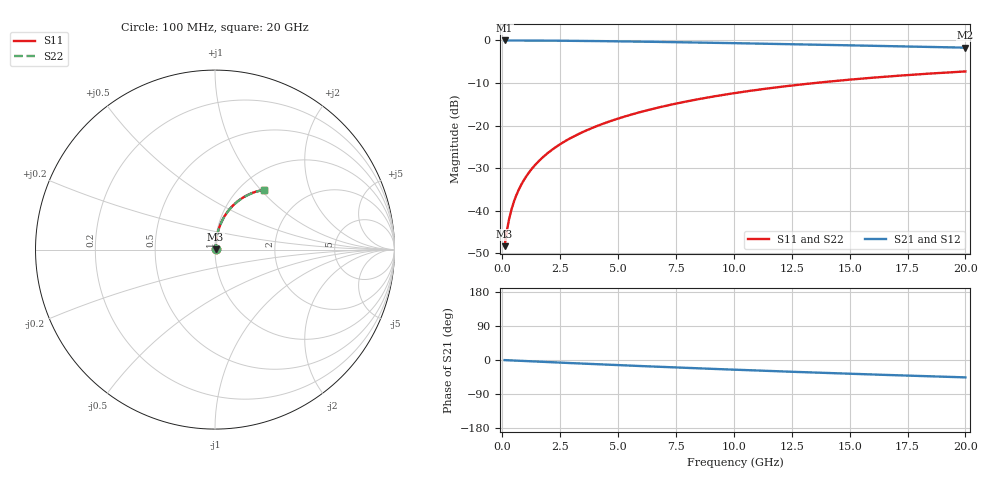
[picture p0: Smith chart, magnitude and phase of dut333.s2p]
! Touchstone file exported from HFSS 2024.1.0
!  File:  C:/UserFiles/LocalFiles/RDL_TSV_Batchsim/temp_RDL_bottom_333_1779611594.aedt
!  Generated:  04:35:35 PM May 24, 2026
!  Design:  RDL_bottom
!  Project:  temp_RDL_bottom_333_1779611594
!  Setup:  Setup1
!  Solution:  Sweep
! Variables:
!  dtsv = 10.80580581um
!  hbump = 3um
!  htsv = 86.69um
!  ldown = 643.19um
!  lrdl = 100um
!  p = 40
!  p1 = 51.23um
!  rhole = 1um
!  t = 450um
!  tdown = 4.65um
!  trdl = 3.915915916um
!  wdown = 17.97um
!  wrdl = 20um
# GHz S MA R 50.000000
! Terminal data exported
! Port[1] = RDL1_T1
! Port[2] = RDL1_T2
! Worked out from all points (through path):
!   200 points, 100 MHz to 20 GHz, reference 50 ohm
!   highest |S21| = -0.02 dB at 100 MHz (marker M1); lowest = -1.7 dB at 20 GHz (marker M2)
!   group delay of S21, straight-line fit = 6.34 ps
!   lowest |S11| = -48.3 dB at 100 MHz (marker M3), VSWR 1.01, Z = 50.3 + j0.259 ohm
!   |S11| at or under -10 dB: start of sweep to 13.52 GHz
!   |S22| runs from -48.3 to -7.3 dB; largest |S21 - S12| = 3.6e-14
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0.1  0.003839 42.1  0.9971 -0.3  0.9971 -0.3  0.00384 42.1
! Gamma 0 0 0 0
! Port Impedance 50 0 50 0
0.2  0.005887 59.5  0.997 -0.6  0.997 -0.6  0.005887 59.5
0.3  0.008134 67.3  0.9968 -0.9  0.9968 -0.9  0.008134 67.3
0.4  0.01043 71.7  0.9967 -1.1  0.9967 -1.1  0.01043 71.7
0.5  0.01274 74.5  0.9965 -1.4  0.9965 -1.4  0.01274 74.5
0.6  0.01507 76.5  0.9964 -1.7  0.9964 -1.7  0.01507 76.4
0.8  0.01978 78.9  0.996 -2.2  0.996 -2.2  0.01978 78.9
1.1  0.02689 80.9  0.9954 -3.1  0.9954 -3.1  0.02689 80.9
1.5  0.03644 82.0  0.9943 -4.2  0.9943 -4.2  0.03644 82.0
1.8  0.04363 82.3  0.9932 -5.0  0.9932 -5.0  0.04363 82.3
2.1  0.05083 82.4  0.9921 -5.8  0.9921 -5.8  0.05082 82.4
2.7  0.06525 82.2  0.9892 -7.4  0.9892 -7.4  0.06524 82.2
3.5  0.08451 81.4  0.9846 -9.6  0.9846 -9.6  0.08449 81.4
4.2  0.1014 80.5  0.9799 -11.4  0.9799 -11.4  0.1014 80.5
5  0.1207 79.4  0.9739 -13.5  0.9739 -13.5  0.1207 79.3
5.9  0.1425 77.9  0.9665 -15.8  0.9665 -15.8  0.1424 77.9
6.8  0.1642 76.3  0.9585 -18.0  0.9585 -18.0  0.1641 76.3
8.4  0.2024 73.3  0.9432 -21.8  0.9432 -21.8  0.2022 73.3
10.1  0.2419 69.9  0.9261 -25.7  0.9261 -25.7  0.2417 69.9
13.4  0.3137 63.2  0.8911 -32.9  0.8911 -32.9  0.3134 63.2
16.7  0.3772 56.7  0.8556 -39.6  0.8556 -39.6  0.3768 56.6
20  0.4315 50.6  0.8207 -45.9  0.8207 -45.9  0.431 50.5
